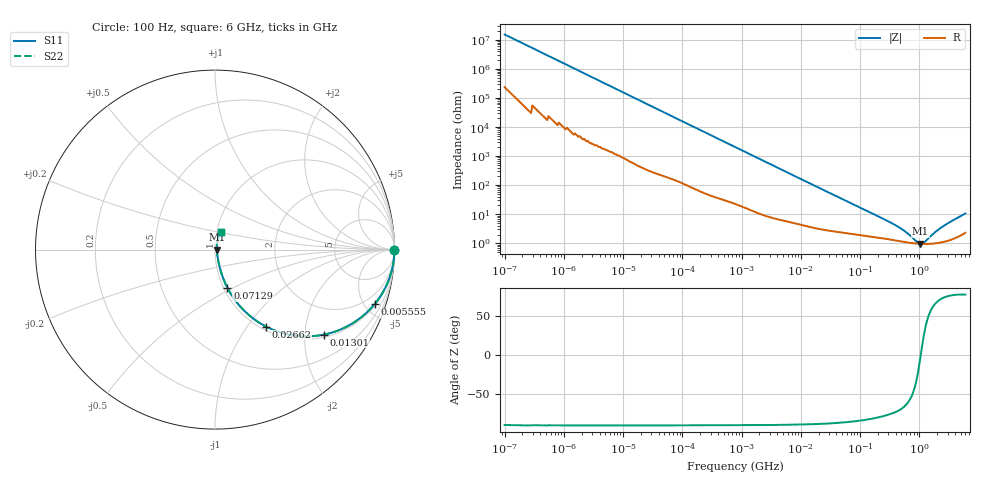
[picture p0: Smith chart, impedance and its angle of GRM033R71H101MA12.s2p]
!Murata Part Number: GRM033R71H101MA12
!These Parameters are Measured in Series Mode Connection
!Data Generated on Mar 30, 2021
!  o--ll--o
!Port1  Port2
!  o------o
!Operation Temp=25[degC], DC Bias Voltage=0[V]
!Freq. Start=100[Hz] Stop=6[GHz] 401[Steps]
# Hz S RI R 50
!Freq.(Hz) S11(Real) S11(Imag) S21(Real) S21(Imag) S12(Real) S12(Imag) S22(Real) S22(Imag)
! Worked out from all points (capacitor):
!   401 points, 100 Hz to 6 GHz, reference 50 ohm
!   read as one part in series: C = 103 pF near 109 Hz
!   lowest |Z| = 958 mohm at 1.047 GHz (marker M1)
!   series resonance near 1.057 GHz, so ESL is about 220 pH
!   S11 on the Smith chart (normalised r, x): 100 Hz: open; 5.555 MHz: 1.12, -5.81; 13.01 MHz: 1.08, -2.51; 26.62 MHz: 1.06, -1.23; 71.29 MHz: 1.04, -0.47; 6 GHz: 1.05, +0.21
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100  1 -6.5e-06  1e-07 6.5e-06  1e-07 6.5e-06  1 -6.5e-06
1404  1 -9.03e-05  5e-07 9.03e-05  5e-07 9.03e-05  1 -9.03e-05
2008  1 -0.000129  7e-07 0.000129  7e-07 0.000129  1 -0.000129
40335  1 -0.00257  2.19e-05 0.00257  2.19e-05 0.00257  1 -0.00257
774597  0.9971 -0.0484  0.00289 0.0484  0.00289 0.0484  0.9971 -0.0484
2268635  0.9787 -0.138  0.0213 0.138  0.0213 0.138  0.9787 -0.138
5554849  0.8895 -0.3038  0.1105 0.3038  0.1105 0.3038  0.8895 -0.3038
8311524  0.7863 -0.3979  0.2137 0.3979  0.2137 0.3979  0.7863 -0.3979
1.300572e7  0.608 -0.4733  0.392 0.4733  0.392 0.4733  0.608 -0.4733
1.555665e7  0.5238 -0.4831  0.4762 0.4831  0.4762 0.4831  0.5238 -0.4831
2.662322e7  0.285 -0.4292  0.715 0.4292  0.715 0.4292  0.285 -0.4292
4.165952e7  0.1514 -0.3289  0.8486 0.3289  0.8486 0.3289  0.1514 -0.3289
7.129496e7  0.0696 -0.2136  0.9304 0.2136  0.9304 0.2136  0.0696 -0.2136
1.395531e8  0.0307 -0.1154  0.9693 0.1154  0.9693 0.1154  0.0307 -0.1154
3.124326e8  0.0161 -0.0512  0.9839 0.0512  0.9839 0.0512  0.0161 -0.0512
5.346885e8  0.0118 -0.0256  0.9882 0.0256  0.9882 0.0256  0.0118 -0.0256
9.150511e8  0.00968 -0.00521  0.9903 0.00521  0.9903 0.00521  0.00968 -0.00521
1.046602e9  0.00948 -0.000361  0.9905 0.000361  0.9905 0.000361  0.00948 -0.000361
1.197065e9  0.00942 0.00453  0.9906 -0.00453  0.9906 -0.00453  0.00942 0.00453
1.873145e9  0.0103 0.0221  0.9897 -0.0221  0.9897 -0.0221  0.0103 0.0221
2.562649e9  0.0123 0.0367  0.9877 -0.0367  0.9877 -0.0367  0.0123 0.0367
6e9  0.0324 0.0979  0.9676 -0.0979  0.9676 -0.0979  0.0324 0.0979
